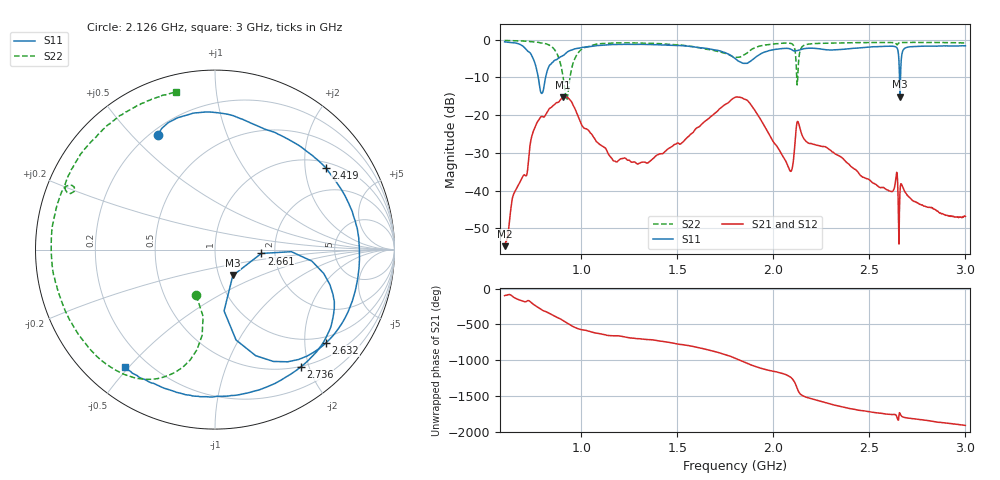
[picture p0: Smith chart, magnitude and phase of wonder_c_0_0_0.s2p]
#  HZ  S  RI  R  50.00
! Rohde & Schwarz ZVB8 2Ports - Version 2.81 - 1145.1010k08 SN: 100113
! Date: 2016-05-12 03:16:02
! Measurements: S11 S21 S12 S22
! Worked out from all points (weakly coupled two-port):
!   1000 points, 600 MHz to 3 GHz, reference 50 ohm
!   highest |S21| = -15.17 dB at 905.1 MHz (marker M1); lowest = -54.7 dB at 600 MHz (marker M2)
!   lowest |S11| = -15.1 dB at 2.659 GHz (marker M3), VSWR 1.42, Z = 58.3 - j17.3 ohm
!   |S11| at or under -10 dB: 775.3 MHz to 813.5 MHz (38.12 MHz wide, 4.8 % of centre); 2.656768 GHz to 2.662226 GHz (5.458 MHz wide, 0.205 % of centre)
!   |S22| runs from -16.0 to -0.2 dB; largest |S21 - S12| = 0.001
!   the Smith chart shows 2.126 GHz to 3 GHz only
!   S11 on the Smith chart (normalised r, x): 2.126 GHz: 0.23, +0.60; 2.419 GHz: 1.17, +2.59; 2.632 GHz: 0.84, -2.50; 2.661 GHz: 1.69, -0.08; 2.736 GHz: 0.49, -1.87; 3 GHz: 0.12, -0.49
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6e8  -0.8486 0.387  -0.000284 -0.00182  -0.000283 -0.0018  -0.955 0.188
6.888889e8  -0.3795 0.7487  -0.0141 -0.00254  -0.0141 -0.00259  -0.7765 0.5621
7.561562e8  0.078 0.4957  -0.0407 0.0528  -0.0407 0.0527  -0.5025 0.7766
8.162162e8  -0.2526 0.2243  0.0844 0.0592  0.0845 0.0591  -0.1248 0.8684
9.051051e8  -0.2 0.5815  0.00348 -0.1742  0.00331 -0.174  0.3104 0.0466
9.387387e8  -0.0912 0.7066  -0.1301 -0.0947  -0.1299 -0.0947  -0.2488 -0.1511
1.001201e9  0.2209 0.7528  -0.0603 0.0433  -0.0603 0.0432  -0.5241 0.5282
1.195796e9  0.8609 0.058  0.0135 0.0215  0.0135 0.0215  0.444 0.7877
1.4e9  0.3547 -0.7767  0.0293 -0.00562  0.0293 -0.00553  0.8829 0.0667
1.623423e9  -0.5486 -0.5535  -0.031 -0.0677  -0.031 -0.0677  0.4795 -0.6042
1.801201e9  -0.5582 0.0386  -0.0442 0.1664  -0.044 0.1667  0.1238 -0.5668
2.084685e9  -0.4247 0.6246  -0.0165 -0.00872  -0.0164 -0.00866  -0.5897 -0.6737
2.125526e9  -0.32 0.6409  0.0714 0.0412  0.0714 0.041  -0.1045 -0.2549
2.147147e9  -0.2779 0.6916  0.0354 -0.0434  0.0357 -0.0434  -0.322 -0.7191
2.2e9  -0.0701 0.7654  -0.01 -0.0405  -0.01 -0.0406  -0.612 -0.6331
2.418619e9  0.619 0.4531  -0.007 0.0182  -0.00709 0.0182  -0.8991 -0.1428
2.601201e9  0.7455 -0.3365  0.00765 0.00639  0.00762 0.0064  -0.8702 0.2761
2.632432e9  0.6187 -0.5195  0.00913 0.00714  0.00907 0.00713  -0.8317 0.3534
2.658859e9  0.0994 -0.1443  0.00523 0.00736  0.00519 0.00738  -0.8348 0.3637
2.661261e9  0.258 -0.0215  0.00863 0.00752  0.0087 0.00737  -0.8327 0.3713
2.735736e9  0.4773 -0.6537  0.00657 -0.00283  0.00656 -0.00276  -0.7412 0.5402
3e9  -0.5005 -0.6566  -0.00194 -0.00412  -0.00198 -0.00409  -0.2198 0.8773
